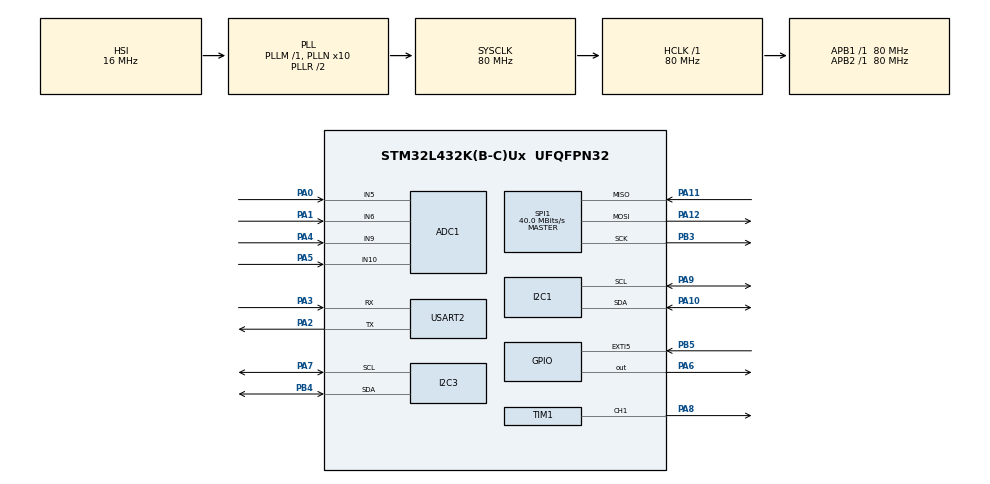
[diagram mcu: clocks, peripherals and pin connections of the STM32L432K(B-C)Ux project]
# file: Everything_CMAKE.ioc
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ADC1.Channel-0\#ChannelRegularConversion=ADC_CHANNEL_5
ADC1.Channel-1\#ChannelRegularConversion=ADC_CHANNEL_6
ADC1.Channel-2\#ChannelRegularConversion=ADC_CHANNEL_9
ADC1.Channel-3\#ChannelRegularConversion=ADC_CHANNEL_10
ADC1.ClockPrescaler=ADC_CLOCK_ASYNC_DIV4
ADC1.ContinuousConvMode=ENABLE
ADC1.DMAContinuousRequests=ENABLE
ADC1.EOCSelection=ADC_EOC_SINGLE_CONV
ADC1.NbrOfConversion=4
ADC1.NbrOfConversionFlag=1
ADC1.OffsetNumber-0\#ChannelRegularConversion=ADC_OFFSET_NONE
ADC1.OffsetNumber-1\#ChannelRegularConversion=ADC_OFFSET_NONE
ADC1.OffsetNumber-2\#ChannelRegularConversion=ADC_OFFSET_NONE
ADC1.OffsetNumber-3\#ChannelRegularConversion=ADC_OFFSET_NONE
ADC1.Rank-0\#ChannelRegularConversion=1
ADC1.Rank-1\#ChannelRegularConversion=2
ADC1.Rank-2\#ChannelRegularConversion=3
ADC1.Rank-3\#ChannelRegularConversion=4
ADC1.SamplingTime-0\#ChannelRegularConversion=ADC_SAMPLETIME_2CYCLES_5
ADC1.SamplingTime-1\#ChannelRegularConversion=ADC_SAMPLETIME_24CYCLES_5
ADC1.SamplingTime-2\#ChannelRegularConversion=ADC_SAMPLETIME_24CYCLES_5
ADC1.SamplingTime-3\#ChannelRegularConversion=ADC_SAMPLETIME_24CYCLES_5
ADC1.master=1
Dma.ADC1.0.Direction=DMA_PERIPH_TO_MEMORY
Dma.ADC1.0.Instance=DMA1_Channel1
Dma.ADC1.0.MemDataAlignment=DMA_MDATAALIGN_HALFWORD
Dma.ADC1.0.MemInc=DMA_MINC_ENABLE
Dma.ADC1.0.Mode=DMA_CIRCULAR
Dma.ADC1.0.PeriphDataAlignment=DMA_PDATAALIGN_HALFWORD
Dma.ADC1.0.PeriphInc=DMA_PINC_DISABLE
Dma.ADC1.0.Priority=DMA_PRIORITY_LOW
Dma.Request0=ADC1
I2C1.Timing=0x10D19CE4
I2C3.Timing=0x10D19CE4
Mcu.Family=STM32L4
Mcu.Name=STM32L432K(B-C)Ux
Mcu.Package=UFQFPN32
NVIC.ADC1_IRQn=true\:0\:0\:false\:false\:true\:true\:true\:true
NVIC.DMA1_Channel1_IRQn=true\:0\:0\:false\:false\:true\:false\:true\:true
NVIC.EXTI9_5_IRQn=true\:0\:0\:false\:false\:true\:true\:true\:true
NVIC.PriorityGroup=NVIC_PRIORITYGROUP_4
PA0.Signal=ADCx_IN5
PA1.Signal=ADCx_IN6
PA10.Mode=I2C
PA10.Signal=I2C1_SDA
PA11.Mode=Full_Duplex_Master
PA11.Signal=SPI1_MISO
PA12.Mode=Full_Duplex_Master
PA12.Signal=SPI1_MOSI
PA2.Mode=Asynchronous
PA2.Signal=USART2_TX
PA3.Mode=Asynchronous
PA3.Signal=USART2_RX
PA4.Signal=ADCx_IN9
PA5.Signal=ADCx_IN10
PA6.Signal=GPIO_Output
PA7.Mode=I2C
PA7.Signal=I2C3_SCL
PA8.Signal=S_TIM1_CH1
PA9.Mode=I2C
PA9.Signal=I2C1_SCL
PB3\ (JTDO-TRACESWO).Mode=Full_Duplex_Master
PB3\ (JTDO-TRACESWO).Signal=SPI1_SCK
PB4\ (NJTRST).Mode=I2C
PB4\ (NJTRST).Signal=I2C3_SDA
PB5.Signal=GPXTI5
PC14-OSC32_IN\ (PC14).Mode=LSE-External-Oscillator
PC14-OSC32_IN\ (PC14).Signal=RCC_OSC32_IN
PC15-OSC32_OUT\ (PC15).Mode=LSE-External-Oscillator
PC15-OSC32_OUT\ (PC15).Signal=RCC_OSC32_OUT
ProjectManager.HeapSize=0x200
ProjectManager.StackSize=0x400
ProjectManager.TargetToolchain=CMake
RCC.ADCFreq_Value=20000000
RCC.AHBFreq_Value=80000000
RCC.APB1Freq_Value=80000000
RCC.APB1TimFreq_Value=80000000
RCC.APB2Freq_Value=80000000
RCC.APB2TimFreq_Value=80000000
RCC.CortexFreq_Value=80000000
RCC.HCLKFreq_Value=80000000
RCC.HSE_VALUE=8000000
RCC.HSI48_VALUE=48000000
RCC.HSI_VALUE=16000000
RCC.MSIClockRange=RCC_MSIRANGE_8
RCC.MSI_VALUE=16000000
RCC.PLLN=10
RCC.PLLSAI1N=10
RCC.PLLSAI1R=RCC_PLLR_DIV8
RCC.PLLSourceVirtual=RCC_PLLSOURCE_HSI
RCC.SYSCLKFreq_VALUE=80000000
RCC.SYSCLKSource=RCC_SYSCLKSOURCE_PLLCLK
RCC.USBFreq_Value=80000000
RCC.VCOOutputFreq_Value=160000000
SH.ADCx_IN10.0=ADC1_IN10,IN10-Single-Ended
SH.ADCx_IN5.0=ADC1_IN5,IN5-Single-Ended
SH.ADCx_IN6.0=ADC1_IN6,IN6-Single-Ended
SH.ADCx_IN9.0=ADC1_IN9,IN9-Single-Ended
SH.S_TIM1_CH1.0=TIM1_CH1,PWM Generation1 CH1
SPI1.BaudRatePrescaler=SPI_BAUDRATEPRESCALER_2
SPI1.CalculateBaudRate=40.0 MBits/s
SPI1.Direction=SPI_DIRECTION_2LINES
SPI1.Mode=SPI_MODE_MASTER
SPI1.VirtualType=VM_MASTER
TIM1.AutoReloadPreload=TIM_AUTORELOAD_PRELOAD_ENABLE
TIM1.Channel-PWM\ Generation1\ CH1=TIM_CHANNEL_1
TIM1.Period=4095
USART2.VirtualMode-Asynchronous=VM_ASYNC
board=custom

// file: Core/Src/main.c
/* USER CODE BEGIN Header */
/**
  ******************************************************************************
  * @file           : main.c
  * @brief          : Main program body
  ******************************************************************************
  * @attention
  *
  * Copyright (c) 2026 STMicroelectronics.
  * All rights reserved.
  *
  * This software is licensed under terms that can be found in the LICENSE file
  * in the root directory of this software component.
  * If no LICENSE file comes with this software, it is provided AS-IS.
  *
  ******************************************************************************
  */
/* USER CODE END Header */
#include "main.h"

/* USER CODE BEGIN Includes */
#include <string.h>
#include <stdio.h>
#include "stm32l4xx_hal.h"
#include "stm32l4xx_hal_pwr.h"
#include "ssd1306.h"
#include "fonts.h"
/* USER CODE END Includes */

ADC_HandleTypeDef hadc1;
DMA_HandleTypeDef hdma_adc1;

I2C_HandleTypeDef hi2c1;
I2C_HandleTypeDef hi2c3;

SPI_HandleTypeDef hspi1;

TIM_HandleTypeDef htim1;

UART_HandleTypeDef huart2;

/* USER CODE BEGIN PV */
//ADC: for input V, output I, total I, manual fan speed
#define ADC_CHANNELS 4
#define ADC_SCANS   100
#define ADC_BUF_LEN (ADC_CHANNELS * ADC_SCANS)

uint16_t ADC_VAL[ADC_BUF_LEN];
uint16_t inputV; // to store 12 bit ADC reading, input +12V
uint16_t totalI; // to store 12 bit ADC reading, total current of module
uint16_t outputI; // to store 12 bit ADC reading, output current of fan
int isADCFinished = 0;
int count = 0;

//I2C: Temp sensor
static const uint8_t TMP102_ADDR = 0x48 << 1; // use 8-bit address, left shift 1 bit as the last bit indicates read/write
static const uint8_t REG_TEMP = 0x00;

//I2C: Display
static const uint8_t SSD1306_ADDR = 0x3c << 1; // b0111100 slave address
static const uint8_t REG_SSD = 0x00;

void ProcessScan(uint16_t *ptr)
{
    // ptr points to the start of a full scan
	// So, this function takes one scan’s ADC results and immediately applies them to PWM.
    TIM1->CCR1 = ptr[0]; // CH5 manual PWM adjust with pot
    inputV = ptr[1]; // CH6 +12V input voltage
    totalI = ptr[2]; // CH9 total system current
    outputI = ptr[3]; // CH10 output load current
}

void HAL_ADC_ConvHalfCpltCallback(ADC_HandleTypeDef *hadc)
	// This is called automatically by the HAL when DMA has filled half of your buffer.
	// ADC_BUF_LEN = total size of the buffer (number of ADC values, e.g., 30 for 10 scans × 3 channels).
{
    for(int i = 0; i < (ADC_BUF_LEN/2); i += ADC_CHANNELS)
    	// i steps by ADC_CHANNELS because each scan contains multiple channel readings.
    	// So each iteration processes one full scan.
        ProcessScan(&ADC_VAL[i]);
    	// Result: As soon as half the buffer is filled, the PWM gets updated scan by scan without waiting for the full buffer.
}

void HAL_ADC_ConvCpltCallback(ADC_HandleTypeDef *hadc)
	// This is called when the entire DMA buffer is filled.
{
    for(int i = ADC_BUF_LEN/2; i < ADC_BUF_LEN; i += ADC_CHANNELS)
    	// Loop starts at ADC_BUF_LEN/2 → the second half of the buffer.
    	// Processes each scan in the second half.
        ProcessScan(&ADC_VAL[i]);
    	// Result: The second half of your buffer is now applied to PWM, while the first half might already be being refilled by DMA (circular mode).
}
/* USER CODE END PV */

void SystemClock_Config(void);
static void MX_GPIO_Init(void);
static void MX_DMA_Init(void);
static void MX_ADC1_Init(void);
static void MX_I2C1_Init(void);
static void MX_I2C3_Init(void);
static void MX_SPI1_Init(void);
static void MX_USART2_UART_Init(void);
static void MX_TIM1_Init(void);

int main(void)
{

  /* USER CODE BEGIN 1 */

	char msg[10]; // 10 character buffer for UART

	HAL_StatusTypeDef ret; //return value for errors
  char dispMsg[16]; // 16 character buffer for display
	uint8_t buf[12];
	int16_t val; //store raw temp data from TMP102
	float temp_c; //floating point variable to transmit data as decimal value

  /* USER CODE END 1 */

  /* MCU Configuration--------------------------------------------------------*/

  /* Reset of all peripherals, Initializes the Flash interface and the Systick. */
  HAL_Init();

  /* Configure the system clock */
  SystemClock_Config();

  /* Initialize all configured peripherals */
  MX_GPIO_Init();
  MX_DMA_Init();
  MX_ADC1_Init();
  MX_I2C1_Init();
  MX_I2C3_Init();
  MX_SPI1_Init();
  MX_USART2_UART_Init();
  MX_TIM1_Init();
  /* USER CODE BEGIN 2 */
  HAL_TIM_PWM_Start(&htim1, TIM_CHANNEL_1);
//  HAL_TIM_PWM_Start(&htim2, TIM_CHANNEL_2);
  HAL_ADCEx_Calibration_Start(&hadc1, ADC_SINGLE_ENDED);  // Calibrate

  HAL_ADC_Start_DMA(&hadc1, (uint32_t*)ADC_VAL, ADC_BUF_LEN);

  // Init lcd using one of the stm32HAL i2c typedefs
  if (ssd1306_Init(&hi2c3) != 0) {
    Error_Handler();
  }
  HAL_Delay(1000);

  ssd1306_Fill(Black);
  ssd1306_UpdateScreen(&hi2c3);

  HAL_Delay(1000);

  // Write data to local screenbuffer
  ssd1306_SetCursor(0, 0);
  ssd1306_WriteString("Welcome!", Font_11x18, White);
  ssd1306_UpdateScreen(&hi2c3);
  HAL_Delay(2000);
  ssd1306_Fill(Black);
  ssd1306_UpdateScreen(&hi2c3);
//  ssd1306_Fill(White);
  // Draw rectangle on screen
  //for (uint8_t i=0; i<28; i++) {
    //  for (uint8_t j=0; j<15; j++) {
       //   ssd1306_DrawPixel(0+i, 0+j, White);
     // }
  //}

  // Copy all data from local screenbuffer to the screen
  ssd1306_UpdateScreen(&hi2c3);

  /* USER CODE END 2 */

  /* Infinite loop */
  /* USER CODE BEGIN WHILE */
  while (1)
  {
	  //Tell TMP102 that we want to read from the temperature register
	  buf[0] = REG_TEMP; //set first byte of buffer to location of TMP102 temperature register

	  //address of i2c peripheral, TMP102 address (0x00 for temperature), pointer to buffer, how many bytes we want to send, timeout
	  ret = HAL_I2C_Master_Transmit(&hi2c1, TMP102_ADDR, buf, 1, HAL_MAX_DELAY);

	  //if anything other than HAL_OK, error msg
	  if (ret != HAL_OK)
	  {
		  strcpy((char*)buf, "Error Tx\r\n");
	  } else {

		  // Read 2 bytes from the temperature register
		  ret = HAL_I2C_Master_Receive(&hi2c1, TMP102_ADDR, buf, 2, HAL_MAX_DELAY);
		  if (ret != HAL_OK)
		  {
			  strcpy((char*)buf, "Error Rx\r\n");
		  } else {

			  // Combine the bytes
			  val = ((int16_t)buf[0] << 4) | (buf[1] >> 4);

			  // Convert to 2's complement, since temperature can be negative
			  if (val > 0x7FF)
			  {
				  val |= 0xF000;
			  }

			  // Convert to float temperature value (Celsius)
			  temp_c = val * 0.0625;

			  // Convert temperature to decimal format
			  temp_c *= 100;
			  if (temp_c > 3000) // greater than 30 degrees C
			  {

            ssd1306_Fill(Black);
            ssd1306_UpdateScreen(&hi2c3);
			      sprintf((char*)buf,"Temp High -> Entering STOP mode\r\n");

			      HAL_UART_Transmit(&huart2, buf, strlen((char*)buf), HAL_MAX_DELAY);

			      HAL_Delay(100); // ensure UART finishes
            //Reassign display message to entirely new string
            strcpy(dispMsg, "OT>Reset");
            ssd1306_SetCursor(0, 0);
            ssd1306_WriteString(dispMsg, Font_11x18, White);
            ssd1306_UpdateScreen(&hi2c3);
			      // Suspend SysTick interrupt
			      HAL_SuspendTick();

			      // Enter STOP mode (wait for interrupt)
			      HAL_PWR_EnterSTOPMode(PWR_LOWPOWERREGULATOR_ON, PWR_STOPENTRY_WFI);

			      // MCU resumes here after wake-up

			      // Reconfigure system clock
			      SystemClock_Config();

			      // Resume SysTick
			      HAL_ResumeTick();

			      // Reset button has been pressed msg
			      sprintf((char*)buf,"Reset -> Resuming Operation\r\n");
            ssd1306_Fill(Black);
            ssd1306_UpdateScreen(&hi2c3);
            strcpy(dispMsg, "Resuming");
            ssd1306_SetCursor(0, 0);
            ssd1306_WriteString(dispMsg, Font_11x18, White);
            ssd1306_UpdateScreen(&hi2c3);
            HAL_Delay(1000);
            ssd1306_Fill(Black);
            ssd1306_UpdateScreen(&hi2c3);

			  } else {

				  sprintf((char*)buf,
						  "%u.%02u C\r\n", // 2 decimal places string
						  ((unsigned int)temp_c / 100),
						  ((unsigned int)temp_c % 100));
          sprintf((char*)dispMsg,
						  "%u.%02u C", // 2 decimal places string
						  ((unsigned int)temp_c / 100),
						  ((unsigned int)temp_c % 100));

          // Update display with latest temperature reading
          ssd1306_SetCursor(0, 0);
          ssd1306_WriteString(dispMsg, Font_11x18, White);
          ssd1306_UpdateScreen(&hi2c3);
			  }
		  }

	  }

	  // Send out buffer (temperature or error msg)
	  HAL_UART_Transmit(&huart2, buf, strlen((char*)buf), HAL_MAX_DELAY);
  	count++;

	  // Wait
	  HAL_Delay(500);

    /* USER CODE END WHILE */

  }
}

void SystemClock_Config(void)
{
  RCC_OscInitTypeDef RCC_OscInitStruct = {0};
  RCC_ClkInitTypeDef RCC_ClkInitStruct = {0};

  /** Configure the main internal regulator output voltage
  */
  if (HAL_PWREx_ControlVoltageScaling(PWR_REGULATOR_VOLTAGE_SCALE1) != HAL_OK)
  {
    Error_Handler();
  }

  /** Initializes the RCC Oscillators according to the specified parameters
  * in the RCC_OscInitTypeDef structure.
  */
  RCC_OscInitStruct.OscillatorType = RCC_OSCILLATORTYPE_HSI;
  RCC_OscInitStruct.HSIState = RCC_HSI_ON;
  RCC_OscInitStruct.HSICalibrationValue = RCC_HSICALIBRATION_DEFAULT;
  RCC_OscInitStruct.PLL.PLLState = RCC_PLL_ON;
  RCC_OscInitStruct.PLL.PLLSource = RCC_PLLSOURCE_HSI;
  RCC_OscInitStruct.PLL.PLLM = 1;
  RCC_OscInitStruct.PLL.PLLN = 10;
  RCC_OscInitStruct.PLL.PLLP = RCC_PLLP_DIV7;
  RCC_OscInitStruct.PLL.PLLQ = RCC_PLLQ_DIV2;
  RCC_OscInitStruct.PLL.PLLR = RCC_PLLR_DIV2;
  if (HAL_RCC_OscConfig(&RCC_OscInitStruct) != HAL_OK)
  {
    Error_Handler();
  }

  /** Initializes the CPU, AHB and APB buses clocks
  */
  RCC_ClkInitStruct.ClockType = RCC_CLOCKTYPE_HCLK|RCC_CLOCKTYPE_SYSCLK
                              |RCC_CLOCKTYPE_PCLK1|RCC_CLOCKTYPE_PCLK2;
  RCC_ClkInitStruct.SYSCLKSource = RCC_SYSCLKSOURCE_PLLCLK;
  RCC_ClkInitStruct.AHBCLKDivider = RCC_SYSCLK_DIV1;
  RCC_ClkInitStruct.APB1CLKDivider = RCC_HCLK_DIV1;
  RCC_ClkInitStruct.APB2CLKDivider = RCC_HCLK_DIV1;

  if (HAL_RCC_ClockConfig(&RCC_ClkInitStruct, FLASH_LATENCY_4) != HAL_OK)
  {
    Error_Handler();
  }
}

static void MX_ADC1_Init(void)
{

  ADC_ChannelConfTypeDef sConfig = {0};

  /** Common config
  */
  hadc1.Instance = ADC1;
  hadc1.Init.ClockPrescaler = ADC_CLOCK_ASYNC_DIV4;
  hadc1.Init.Resolution = ADC_RESOLUTION_12B;
  hadc1.Init.DataAlign = ADC_DATAALIGN_RIGHT;
  hadc1.Init.ScanConvMode = ADC_SCAN_ENABLE;
  hadc1.Init.EOCSelection = ADC_EOC_SINGLE_CONV;
  hadc1.Init.LowPowerAutoWait = DISABLE;
  hadc1.Init.ContinuousConvMode = ENABLE;
  hadc1.Init.NbrOfConversion = 4;
  hadc1.Init.DiscontinuousConvMode = DISABLE;
  hadc1.Init.ExternalTrigConv = ADC_SOFTWARE_START;
  hadc1.Init.ExternalTrigConvEdge = ADC_EXTERNALTRIGCONVEDGE_NONE;
  hadc1.Init.DMAContinuousRequests = ENABLE;
  hadc1.Init.Overrun = ADC_OVR_DATA_PRESERVED;
  hadc1.Init.OversamplingMode = DISABLE;
  if (HAL_ADC_Init(&hadc1) != HAL_OK)
  {
    Error_Handler();
  }

  /** Configure Regular Channel
  */
  sConfig.Channel = ADC_CHANNEL_5;
  sConfig.Rank = ADC_REGULAR_RANK_1;
  sConfig.SamplingTime = ADC_SAMPLETIME_2CYCLES_5;
  sConfig.SingleDiff = ADC_SINGLE_ENDED;
  sConfig.OffsetNumber = ADC_OFFSET_NONE;
  sConfig.Offset = 0;
  if (HAL_ADC_ConfigChannel(&hadc1, &sConfig) != HAL_OK)
  {
    Error_Handler();
  }

  /** Configure Regular Channel
  */
  sConfig.Channel = ADC_CHANNEL_6;
  sConfig.Rank = ADC_REGULAR_RANK_2;
  sConfig.SamplingTime = ADC_SAMPLETIME_24CYCLES_5;
  if (HAL_ADC_ConfigChannel(&hadc1, &sConfig) != HAL_OK)
  {
    Error_Handler();
  }

  /** Configure Regular Channel
  */
  sConfig.Channel = ADC_CHANNEL_9;
  sConfig.Rank = ADC_REGULAR_RANK_3;
  if (HAL_ADC_ConfigChannel(&hadc1, &sConfig) != HAL_OK)
  {
    Error_Handler();
  }

  /** Configure Regular Channel
  */
  sConfig.Channel = ADC_CHANNEL_10;
  sConfig.Rank = ADC_REGULAR_RANK_4;
  if (HAL_ADC_ConfigChannel(&hadc1, &sConfig) != HAL_OK)
  {
    Error_Handler();
  }

}

static void MX_I2C1_Init(void)
{

  hi2c1.Instance = I2C1;
  hi2c1.Init.Timing = 0x10D19CE4;
  hi2c1.Init.OwnAddress1 = 0;
  hi2c1.Init.AddressingMode = I2C_ADDRESSINGMODE_7BIT;
  hi2c1.Init.DualAddressMode = I2C_DUALADDRESS_DISABLE;
  hi2c1.Init.OwnAddress2 = 0;
  hi2c1.Init.OwnAddress2Masks = I2C_OA2_NOMASK;
  hi2c1.Init.GeneralCallMode = I2C_GENERALCALL_DISABLE;
  hi2c1.Init.NoStretchMode = I2C_NOSTRETCH_DISABLE;
  if (HAL_I2C_Init(&hi2c1) != HAL_OK)
  {
    Error_Handler();
  }

  /** Configure Analogue filter
  */
  if (HAL_I2CEx_ConfigAnalogFilter(&hi2c1, I2C_ANALOGFILTER_ENABLE) != HAL_OK)
  {
    Error_Handler();
  }

  /** Configure Digital filter
  */
  if (HAL_I2CEx_ConfigDigitalFilter(&hi2c1, 0) != HAL_OK)
  {
    Error_Handler();
  }

}

static void MX_I2C3_Init(void)
{

  hi2c3.Instance = I2C3;
  hi2c3.Init.Timing = 0x10D19CE4;
  hi2c3.Init.OwnAddress1 = 0;
  hi2c3.Init.AddressingMode = I2C_ADDRESSINGMODE_7BIT;
  hi2c3.Init.DualAddressMode = I2C_DUALADDRESS_DISABLE;
  hi2c3.Init.OwnAddress2 = 0;
  hi2c3.Init.OwnAddress2Masks = I2C_OA2_NOMASK;
  hi2c3.Init.GeneralCallMode = I2C_GENERALCALL_DISABLE;
  hi2c3.Init.NoStretchMode = I2C_NOSTRETCH_DISABLE;
  if (HAL_I2C_Init(&hi2c3) != HAL_OK)
  {
    Error_Handler();
  }

  /** Configure Analogue filter
  */
  if (HAL_I2CEx_ConfigAnalogFilter(&hi2c3, I2C_ANALOGFILTER_ENABLE) != HAL_OK)
  {
    Error_Handler();
  }

  /** Configure Digital filter
  */
  if (HAL_I2CEx_ConfigDigitalFilter(&hi2c3, 0) != HAL_OK)
  {
    Error_Handler();
  }

}

static void MX_SPI1_Init(void)
{

  /* SPI1 parameter configuration*/
  hspi1.Instance = SPI1;
  hspi1.Init.Mode = SPI_MODE_MASTER;
  hspi1.Init.Direction = SPI_DIRECTION_2LINES;
  hspi1.Init.DataSize = SPI_DATASIZE_4BIT;
  hspi1.Init.CLKPolarity = SPI_POLARITY_LOW;
  hspi1.Init.CLKPhase = SPI_PHASE_1EDGE;
  hspi1.Init.NSS = SPI_NSS_SOFT;
  hspi1.Init.BaudRatePrescaler = SPI_BAUDRATEPRESCALER_2;
  hspi1.Init.FirstBit = SPI_FIRSTBIT_MSB;
  hspi1.Init.TIMode = SPI_TIMODE_DISABLE;
  hspi1.Init.CRCCalculation = SPI_CRCCALCULATION_DISABLE;
  hspi1.Init.CRCPolynomial = 7;
  hspi1.Init.CRCLength = SPI_CRC_LENGTH_DATASIZE;
  hspi1.Init.NSSPMode = SPI_NSS_PULSE_ENABLE;
  if (HAL_SPI_Init(&hspi1) != HAL_OK)
  {
    Error_Handler();
  }

}

static void MX_TIM1_Init(void)
{

  TIM_MasterConfigTypeDef sMasterConfig = {0};
  TIM_OC_InitTypeDef sConfigOC = {0};
  TIM_BreakDeadTimeConfigTypeDef sBreakDeadTimeConfig = {0};

  htim1.Instance = TIM1;
  htim1.Init.Prescaler = 0;
  htim1.Init.CounterMode = TIM_COUNTERMODE_UP;
  htim1.Init.Period = 4095;
  htim1.Init.ClockDivision = TIM_CLOCKDIVISION_DIV1;
  htim1.Init.RepetitionCounter = 0;
  htim1.Init.AutoReloadPreload = TIM_AUTORELOAD_PRELOAD_ENABLE;
  if (HAL_TIM_PWM_Init(&htim1) != HAL_OK)
  {
    Error_Handler();
  }
  sMasterConfig.MasterOutputTrigger = TIM_TRGO_RESET;
  sMasterConfig.MasterOutputTrigger2 = TIM_TRGO2_RESET;
  sMasterConfig.MasterSlaveMode = TIM_MASTERSLAVEMODE_DISABLE;
  if (HAL_TIMEx_MasterConfigSynchronization(&htim1, &sMasterConfig) != HAL_OK)
  {
    Error_Handler();
  }
  sConfigOC.OCMode = TIM_OCMODE_PWM1;
  sConfigOC.Pulse = 0;
  sConfigOC.OCPolarity = TIM_OCPOLARITY_HIGH;
  sConfigOC.OCNPolarity = TIM_OCNPOLARITY_HIGH;
  sConfigOC.OCFastMode = TIM_OCFAST_DISABLE;
  sConfigOC.OCIdleState = TIM_OCIDLESTATE_RESET;
  sConfigOC.OCNIdleState = TIM_OCNIDLESTATE_RESET;
  if (HAL_TIM_PWM_ConfigChannel(&htim1, &sConfigOC, TIM_CHANNEL_1) != HAL_OK)
  {
    Error_Handler();
  }
  sBreakDeadTimeConfig.OffStateRunMode = TIM_OSSR_DISABLE;
  sBreakDeadTimeConfig.OffStateIDLEMode = TIM_OSSI_DISABLE;
  sBreakDeadTimeConfig.LockLevel = TIM_LOCKLEVEL_OFF;
  sBreakDeadTimeConfig.DeadTime = 0;
  sBreakDeadTimeConfig.BreakState = TIM_BREAK_DISABLE;
  sBreakDeadTimeConfig.BreakPolarity = TIM_BREAKPOLARITY_HIGH;
  sBreakDeadTimeConfig.BreakFilter = 0;
  sBreakDeadTimeConfig.Break2State = TIM_BREAK2_DISABLE;
  sBreakDeadTimeConfig.Break2Polarity = TIM_BREAK2POLARITY_HIGH;
  sBreakDeadTimeConfig.Break2Filter = 0;
  sBreakDeadTimeConfig.AutomaticOutput = TIM_AUTOMATICOUTPUT_DISABLE;
  if (HAL_TIMEx_ConfigBreakDeadTime(&htim1, &sBreakDeadTimeConfig) != HAL_OK)
  {
    Error_Handler();
  }
  HAL_TIM_MspPostInit(&htim1);

}

static void MX_USART2_UART_Init(void)
{

  huart2.Instance = USART2;
  huart2.Init.BaudRate = 115200;
  huart2.Init.WordLength = UART_WORDLENGTH_8B;
  huart2.Init.StopBits = UART_STOPBITS_1;
  huart2.Init.Parity = UART_PARITY_NONE;
  huart2.Init.Mode = UART_MODE_TX_RX;
  huart2.Init.HwFlowCtl = UART_HWCONTROL_NONE;
  huart2.Init.OverSampling = UART_OVERSAMPLING_16;
  huart2.Init.OneBitSampling = UART_ONE_BIT_SAMPLE_DISABLE;
  huart2.AdvancedInit.AdvFeatureInit = UART_ADVFEATURE_NO_INIT;
  if (HAL_UART_Init(&huart2) != HAL_OK)
  {
    Error_Handler();
  }

}

static void MX_DMA_Init(void)
{

  /* DMA controller clock enable */
  __HAL_RCC_DMA1_CLK_ENABLE();

  /* DMA interrupt init */
  /* DMA1_Channel1_IRQn interrupt configuration */
  HAL_NVIC_SetPriority(DMA1_Channel1_IRQn, 0, 0);
  HAL_NVIC_EnableIRQ(DMA1_Channel1_IRQn);

}

static void MX_GPIO_Init(void)
{
  GPIO_InitTypeDef GPIO_InitStruct = {0};

  /* GPIO Ports Clock Enable */
  __HAL_RCC_GPIOC_CLK_ENABLE();
  __HAL_RCC_GPIOA_CLK_ENABLE();
  __HAL_RCC_GPIOB_CLK_ENABLE();

  /*Configure GPIO pin Output Level */
  HAL_GPIO_WritePin(GPIOA, GPIO_PIN_6, GPIO_PIN_RESET);

  /*Configure GPIO pin : PA6 */
  GPIO_InitStruct.Pin = GPIO_PIN_6;
  GPIO_InitStruct.Mode = GPIO_MODE_OUTPUT_PP;
  GPIO_InitStruct.Pull = GPIO_NOPULL;
  GPIO_InitStruct.Speed = GPIO_SPEED_FREQ_LOW;
  HAL_GPIO_Init(GPIOA, &GPIO_InitStruct);

  /*Configure GPIO pin : PB5 */
  GPIO_InitStruct.Pin = GPIO_PIN_5;
  GPIO_InitStruct.Mode = GPIO_MODE_IT_RISING;
  GPIO_InitStruct.Pull = GPIO_NOPULL;
  HAL_GPIO_Init(GPIOB, &GPIO_InitStruct);

  /* EXTI interrupt init*/
  HAL_NVIC_SetPriority(EXTI9_5_IRQn, 0, 0);
  HAL_NVIC_EnableIRQ(EXTI9_5_IRQn);

}

void Error_Handler(void)
{
  __disable_irq();
  while (1)
  {
  }
}
